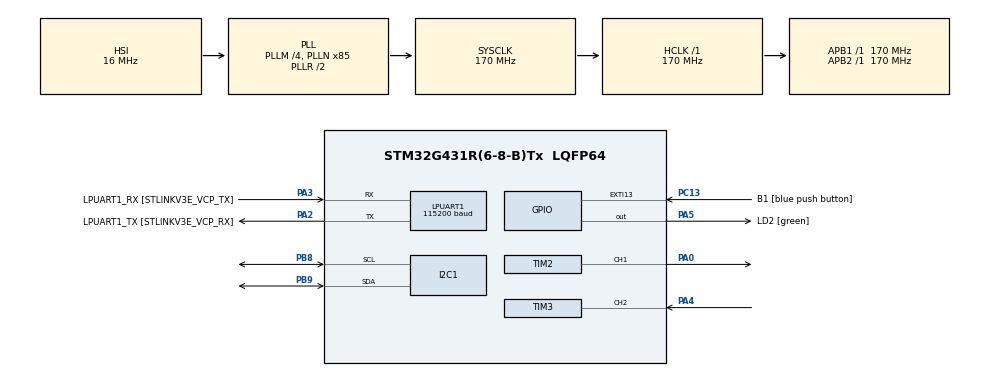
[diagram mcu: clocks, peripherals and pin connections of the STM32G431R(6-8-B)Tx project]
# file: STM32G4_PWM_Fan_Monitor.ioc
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I2C1.Timing=0x30A0A7FB
LPUART1.BaudRate=115200
LPUART1.WordLength=UART_WORDLENGTH_8B
Mcu.Family=STM32G4
Mcu.Name=STM32G431R(6-8-B)Tx
Mcu.Package=LQFP64
NVIC.EXTI15_10_IRQn=true\:0\:0\:false\:false\:true\:true\:true\:true
NVIC.PriorityGroup=NVIC_PRIORITYGROUP_4
NVIC.TIM2_IRQn=true\:0\:0\:false\:false\:true\:true\:true\:true
NVIC.TIM3_IRQn=true\:0\:0\:false\:false\:true\:true\:true\:true
PA0.Signal=S_TIM2_CH1
PA13.GPIO_Label=T_SWDIO
PA13.Mode=Serial_Wire
PA13.Signal=SYS_JTMS-SWDIO
PA14.GPIO_Label=T_SWCLK
PA14.Mode=Serial_Wire
PA14.Signal=SYS_JTCK-SWCLK
PA2.GPIO_Label=LPUART1_TX [STLINKV3E_VCP_RX]
PA2.Mode=Asynchronous
PA2.Signal=LPUART1_TX
PA3.GPIO_Label=LPUART1_RX [STLINKV3E_VCP_TX]
PA3.Mode=Asynchronous
PA3.Signal=LPUART1_RX
PA4.Signal=S_TIM3_CH2
PA5.GPIO_Label=LD2 [green]
PA5.Signal=GPIO_Output
PA6.Signal=S_TIM3_CH1
PB3.GPIO_Label=T_SWO
PB3.Signal=SYS_JTDO-SWO
PB8-BOOT0.Mode=I2C
PB8-BOOT0.Signal=I2C1_SCL
PB9.Mode=I2C
PB9.Signal=I2C1_SDA
PC13.GPIO_Label=B1 [blue push button]
PC13.Signal=GPXTI13
PC14-OSC32_IN.Mode=LSE-External-Oscillator
PC14-OSC32_IN.Signal=RCC_OSC32_IN
PC15-OSC32_OUT.Mode=LSE-External-Oscillator
PC15-OSC32_OUT.Signal=RCC_OSC32_OUT
PF0-OSC_IN.Mode=HSE-External-Oscillator
PF0-OSC_IN.Signal=RCC_OSC_IN
PF1-OSC_OUT.Mode=HSE-External-Oscillator
PF1-OSC_OUT.Signal=RCC_OSC_OUT
ProjectManager.HeapSize=0x200
ProjectManager.StackSize=0x400
ProjectManager.TargetToolchain=STM32CubeIDE
RCC.ADC12Freq_Value=170000000
RCC.AHBFreq_Value=170000000
RCC.APB1Freq_Value=170000000
RCC.APB1TimFreq_Value=170000000
RCC.APB2Freq_Value=170000000
RCC.APB2TimFreq_Value=170000000
RCC.CortexFreq_Value=170000000
RCC.EXTERNAL_CLOCK_VALUE=12288000
RCC.HCLKFreq_Value=170000000
RCC.HSE_VALUE=24000000
RCC.HSI48_VALUE=48000000
RCC.HSI_VALUE=16000000
RCC.PLLM=RCC_PLLM_DIV4
RCC.PLLN=85
RCC.RTCClockSelection=RCC_RTCCLKSOURCE_LSE
RCC.SYSCLKFreq_VALUE=170000000
RCC.SYSCLKSource=RCC_SYSCLKSOURCE_PLLCLK
RCC.USBFreq_Value=170000000
RCC.VCOOutputFreq_Value=340000000
SH.S_TIM2_CH1.0=TIM2_CH1,PWM Generation1 CH1
SH.S_TIM3_CH1.0=TIM3_CH1
SH.S_TIM3_CH2.0=TIM3_CH2,Input_Capture2_from_TI2
TIM2.Channel-PWM\ Generation1\ CH1=TIM_CHANNEL_1
TIM2.PeriodNoDither=959
TIM2.Prescaler=2
TIM3.Channel-Input_Capture2_from_TI2=TIM_CHANNEL_2
TIM3.ICPolarity_CH2=TIM_INPUTCHANNELPOLARITY_FALLING
TIM3.Prescaler=169
VP_SYS_VS_DBSignals.Mode=DisableDeadBatterySignals
VP_TIM2_VS_ClockSourceINT.Mode=Internal
VP_TIM3_VS_ClockSourceINT.Mode=Internal
board=NUCLEO-G431RB

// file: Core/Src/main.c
/* USER CODE BEGIN Header */
/**
  ******************************************************************************
  * @file           : main.c
  * @brief          : Main program body
  ******************************************************************************
  * @attention
  *
  * Copyright (c) 2026 STMicroelectronics.
  * All rights reserved.
  *
  * This software is licensed under terms that can be found in the LICENSE file
  * in the root directory of this software component.
  * If no LICENSE file comes with this software, it is provided AS-IS.
  *
  ******************************************************************************
  */
/* USER CODE END Header */
#include "main.h"

/* USER CODE BEGIN Includes */
#include "SH1107.h"
#include <stdio.h> // sprintf kullanabilmek için
/* USER CODE END Includes */

I2C_HandleTypeDef hi2c1;

UART_HandleTypeDef hlpuart1;

TIM_HandleTypeDef htim2;
TIM_HandleTypeDef htim3;

/* USER CODE BEGIN PV */
uint32_t ilk_yakalama = 0;
uint32_t ikinci_yakalama = 0;
uint32_t fark = 0;
uint8_t ilk_kenar = 0;

volatile uint32_t fan_freq = 0; // Sinyalin anlık frekansı (Hz)
volatile uint32_t fan_rpm = 0;  // Fanın anlık devir sayısı (RPM)
uint8_t guncel_duty = 50;       // Başlangıç PWM yüzdemiz (%50)
/* USER CODE END PV */

void SystemClock_Config(void);
static void MX_GPIO_Init(void);
static void MX_LPUART1_UART_Init(void);
static void MX_TIM2_Init(void);
static void MX_TIM3_Init(void);
static void MX_I2C1_Init(void);

int main(void)
{

  /* MCU Configuration--------------------------------------------------------*/

  /* Reset of all peripherals, Initializes the Flash interface and the Systick. */
  HAL_Init();

  /* Configure the system clock */
  SystemClock_Config();

  /* Initialize all configured peripherals */
  MX_GPIO_Init();
  MX_LPUART1_UART_Init();
  MX_TIM2_Init();
  MX_TIM3_Init();
  MX_I2C1_Init();
  /* USER CODE BEGIN 2 */

  // 1. OLED Ekranı Başlat ve Temizle
  SH1107_Init();
  SH1107_ClearBuffer();
  SH1107_Update();

  // 2. Zamanlayıcıları (Timer) Başlat
  HAL_TIM_PWM_Start(&htim2, TIM_CHANNEL_1);   // PWM output (PA0 / TIM2_CH1)
  HAL_TIM_IC_Start_IT(&htim3, TIM_CHANNEL_2); // Tachometer input capture (PA4 / TIM3_CH2)

  // 3. Başlangıç Hızını Set Et (%50 duty için ARR=959 üzerinden yaklaşık 480)
  __HAL_TIM_SET_COMPARE(&htim2, TIM_CHANNEL_1, 480);
  /* USER CODE END 2 */

  /* Infinite loop */
  /* USER CODE BEGIN WHILE */

  while (1)
    {
        // 1. Sanal ekran belleğini (buffer) temizle
        SH1107_ClearBuffer();

        // 2. Buton kesmesiyle değişen guncel_duty, fan_freq ve fan_rpm değerlerini çiz
        SH1107_Draw_Fan_Telemetry(fan_freq, fan_rpm, guncel_duty);

        // 3. Buffer içeriğini I2C üzerinden ekrana gönder
        SH1107_Update();

        // İşlemciyi yormamak ve ekranı stabil tutmak için 200ms gecikme
        HAL_Delay(200);

    /* USER CODE END WHILE */

  }
}

void SystemClock_Config(void)
{
  RCC_OscInitTypeDef RCC_OscInitStruct = {0};
  RCC_ClkInitTypeDef RCC_ClkInitStruct = {0};

  /** Configure the main internal regulator output voltage
  */
  HAL_PWREx_ControlVoltageScaling(PWR_REGULATOR_VOLTAGE_SCALE1_BOOST);

  /** Initializes the RCC Oscillators according to the specified parameters
  * in the RCC_OscInitTypeDef structure.
  */
  RCC_OscInitStruct.OscillatorType = RCC_OSCILLATORTYPE_HSI;
  RCC_OscInitStruct.HSIState = RCC_HSI_ON;
  RCC_OscInitStruct.HSICalibrationValue = RCC_HSICALIBRATION_DEFAULT;
  RCC_OscInitStruct.PLL.PLLState = RCC_PLL_ON;
  RCC_OscInitStruct.PLL.PLLSource = RCC_PLLSOURCE_HSI;
  RCC_OscInitStruct.PLL.PLLM = RCC_PLLM_DIV4;
  RCC_OscInitStruct.PLL.PLLN = 85;
  RCC_OscInitStruct.PLL.PLLP = RCC_PLLP_DIV2;
  RCC_OscInitStruct.PLL.PLLQ = RCC_PLLQ_DIV2;
  RCC_OscInitStruct.PLL.PLLR = RCC_PLLR_DIV2;
  if (HAL_RCC_OscConfig(&RCC_OscInitStruct) != HAL_OK)
  {
    Error_Handler();
  }

  /** Initializes the CPU, AHB and APB buses clocks
  */
  RCC_ClkInitStruct.ClockType = RCC_CLOCKTYPE_HCLK|RCC_CLOCKTYPE_SYSCLK
                              |RCC_CLOCKTYPE_PCLK1|RCC_CLOCKTYPE_PCLK2;
  RCC_ClkInitStruct.SYSCLKSource = RCC_SYSCLKSOURCE_PLLCLK;
  RCC_ClkInitStruct.AHBCLKDivider = RCC_SYSCLK_DIV1;
  RCC_ClkInitStruct.APB1CLKDivider = RCC_HCLK_DIV1;
  RCC_ClkInitStruct.APB2CLKDivider = RCC_HCLK_DIV1;

  if (HAL_RCC_ClockConfig(&RCC_ClkInitStruct, FLASH_LATENCY_4) != HAL_OK)
  {
    Error_Handler();
  }
}

static void MX_I2C1_Init(void)
{

  hi2c1.Instance = I2C1;
  hi2c1.Init.Timing = 0x30A0A7FB;
  hi2c1.Init.OwnAddress1 = 0;
  hi2c1.Init.AddressingMode = I2C_ADDRESSINGMODE_7BIT;
  hi2c1.Init.DualAddressMode = I2C_DUALADDRESS_DISABLE;
  hi2c1.Init.OwnAddress2 = 0;
  hi2c1.Init.OwnAddress2Masks = I2C_OA2_NOMASK;
  hi2c1.Init.GeneralCallMode = I2C_GENERALCALL_DISABLE;
  hi2c1.Init.NoStretchMode = I2C_NOSTRETCH_DISABLE;
  if (HAL_I2C_Init(&hi2c1) != HAL_OK)
  {
    Error_Handler();
  }

  /** Configure Analogue filter
  */
  if (HAL_I2CEx_ConfigAnalogFilter(&hi2c1, I2C_ANALOGFILTER_ENABLE) != HAL_OK)
  {
    Error_Handler();
  }

  /** Configure Digital filter
  */
  if (HAL_I2CEx_ConfigDigitalFilter(&hi2c1, 0) != HAL_OK)
  {
    Error_Handler();
  }

}

static void MX_LPUART1_UART_Init(void)
{

  hlpuart1.Instance = LPUART1;
  hlpuart1.Init.BaudRate = 115200;
  hlpuart1.Init.WordLength = UART_WORDLENGTH_8B;
  hlpuart1.Init.StopBits = UART_STOPBITS_1;
  hlpuart1.Init.Parity = UART_PARITY_NONE;
  hlpuart1.Init.Mode = UART_MODE_TX_RX;
  hlpuart1.Init.HwFlowCtl = UART_HWCONTROL_NONE;
  hlpuart1.Init.OneBitSampling = UART_ONE_BIT_SAMPLE_DISABLE;
  hlpuart1.Init.ClockPrescaler = UART_PRESCALER_DIV1;
  hlpuart1.AdvancedInit.AdvFeatureInit = UART_ADVFEATURE_NO_INIT;
  if (HAL_UART_Init(&hlpuart1) != HAL_OK)
  {
    Error_Handler();
  }
  if (HAL_UARTEx_SetTxFifoThreshold(&hlpuart1, UART_TXFIFO_THRESHOLD_1_8) != HAL_OK)
  {
    Error_Handler();
  }
  if (HAL_UARTEx_SetRxFifoThreshold(&hlpuart1, UART_RXFIFO_THRESHOLD_1_8) != HAL_OK)
  {
    Error_Handler();
  }
  if (HAL_UARTEx_DisableFifoMode(&hlpuart1) != HAL_OK)
  {
    Error_Handler();
  }

}

static void MX_TIM2_Init(void)
{

  TIM_ClockConfigTypeDef sClockSourceConfig = {0};
  TIM_MasterConfigTypeDef sMasterConfig = {0};
  TIM_OC_InitTypeDef sConfigOC = {0};

  htim2.Instance = TIM2;
  htim2.Init.Prescaler = 2;
  htim2.Init.CounterMode = TIM_COUNTERMODE_UP;
  htim2.Init.Period = 959;
  htim2.Init.ClockDivision = TIM_CLOCKDIVISION_DIV1;
  htim2.Init.AutoReloadPreload = TIM_AUTORELOAD_PRELOAD_DISABLE;
  if (HAL_TIM_Base_Init(&htim2) != HAL_OK)
  {
    Error_Handler();
  }
  sClockSourceConfig.ClockSource = TIM_CLOCKSOURCE_INTERNAL;
  if (HAL_TIM_ConfigClockSource(&htim2, &sClockSourceConfig) != HAL_OK)
  {
    Error_Handler();
  }
  if (HAL_TIM_PWM_Init(&htim2) != HAL_OK)
  {
    Error_Handler();
  }
  sMasterConfig.MasterOutputTrigger = TIM_TRGO_RESET;
  sMasterConfig.MasterSlaveMode = TIM_MASTERSLAVEMODE_DISABLE;
  if (HAL_TIMEx_MasterConfigSynchronization(&htim2, &sMasterConfig) != HAL_OK)
  {
    Error_Handler();
  }
  sConfigOC.OCMode = TIM_OCMODE_PWM1;
  sConfigOC.Pulse = 0;
  sConfigOC.OCPolarity = TIM_OCPOLARITY_HIGH;
  sConfigOC.OCFastMode = TIM_OCFAST_DISABLE;
  if (HAL_TIM_PWM_ConfigChannel(&htim2, &sConfigOC, TIM_CHANNEL_1) != HAL_OK)
  {
    Error_Handler();
  }
  HAL_TIM_MspPostInit(&htim2);

}

static void MX_TIM3_Init(void)
{

  TIM_ClockConfigTypeDef sClockSourceConfig = {0};
  TIM_MasterConfigTypeDef sMasterConfig = {0};
  TIM_IC_InitTypeDef sConfigIC = {0};

  htim3.Instance = TIM3;
  htim3.Init.Prescaler = 169;
  htim3.Init.CounterMode = TIM_COUNTERMODE_UP;
  htim3.Init.Period = 65535;
  htim3.Init.ClockDivision = TIM_CLOCKDIVISION_DIV1;
  htim3.Init.AutoReloadPreload = TIM_AUTORELOAD_PRELOAD_DISABLE;
  if (HAL_TIM_Base_Init(&htim3) != HAL_OK)
  {
    Error_Handler();
  }
  sClockSourceConfig.ClockSource = TIM_CLOCKSOURCE_INTERNAL;
  if (HAL_TIM_ConfigClockSource(&htim3, &sClockSourceConfig) != HAL_OK)
  {
    Error_Handler();
  }
  if (HAL_TIM_IC_Init(&htim3) != HAL_OK)
  {
    Error_Handler();
  }
  sMasterConfig.MasterOutputTrigger = TIM_TRGO_RESET;
  sMasterConfig.MasterSlaveMode = TIM_MASTERSLAVEMODE_DISABLE;
  if (HAL_TIMEx_MasterConfigSynchronization(&htim3, &sMasterConfig) != HAL_OK)
  {
    Error_Handler();
  }
  sConfigIC.ICPolarity = TIM_INPUTCHANNELPOLARITY_FALLING;
  sConfigIC.ICSelection = TIM_ICSELECTION_DIRECTTI;
  sConfigIC.ICPrescaler = TIM_ICPSC_DIV1;
  sConfigIC.ICFilter = 0;
  if (HAL_TIM_IC_ConfigChannel(&htim3, &sConfigIC, TIM_CHANNEL_2) != HAL_OK)
  {
    Error_Handler();
  }

}

static void MX_GPIO_Init(void)
{
  GPIO_InitTypeDef GPIO_InitStruct = {0};

  /* GPIO Ports Clock Enable */
  __HAL_RCC_GPIOC_CLK_ENABLE();
  __HAL_RCC_GPIOF_CLK_ENABLE();
  __HAL_RCC_GPIOA_CLK_ENABLE();
  __HAL_RCC_GPIOB_CLK_ENABLE();

  /*Configure GPIO pin Output Level */
  HAL_GPIO_WritePin(LD2_GPIO_Port, LD2_Pin, GPIO_PIN_RESET);

  /*Configure GPIO pin : B1_Pin */
  GPIO_InitStruct.Pin = B1_Pin;
  GPIO_InitStruct.Mode = GPIO_MODE_IT_RISING;
  GPIO_InitStruct.Pull = GPIO_NOPULL;
  HAL_GPIO_Init(B1_GPIO_Port, &GPIO_InitStruct);

  /*Configure GPIO pin : LD2_Pin */
  GPIO_InitStruct.Pin = LD2_Pin;
  GPIO_InitStruct.Mode = GPIO_MODE_OUTPUT_PP;
  GPIO_InitStruct.Pull = GPIO_NOPULL;
  GPIO_InitStruct.Speed = GPIO_SPEED_FREQ_LOW;
  HAL_GPIO_Init(LD2_GPIO_Port, &GPIO_InitStruct);

  /* EXTI interrupt init*/
  HAL_NVIC_SetPriority(EXTI15_10_IRQn, 0, 0);
  HAL_NVIC_EnableIRQ(EXTI15_10_IRQn);

}

/* USER CODE BEGIN 4 */
void HAL_TIM_IC_CaptureCallback(TIM_HandleTypeDef *htim)
{
    if (htim->Instance == TIM3) // TIM3 Kesmesi
    {
        if (htim->Channel == HAL_TIM_ACTIVE_CHANNEL_2) // TIM3 Channel 2 (PA4)
        {
            if (ilk_kenar == 0)
            {
                ilk_yakalama = HAL_TIM_ReadCapturedValue(htim, TIM_CHANNEL_2);
                ilk_kenar = 1;
            }
            else
            {
                ikinci_yakalama = HAL_TIM_ReadCapturedValue(htim, TIM_CHANNEL_2);

                if (ikinci_yakalama > ilk_yakalama)
                {
                    fark = ikinci_yakalama - ilk_yakalama;
                }
                else
                {
                    fark = (65535 - ilk_yakalama) + ikinci_yakalama; // Taşma koruması
                }

                if (fark > 0)
                {
                    // Giriş Yakalama frekansımız 1 MHz (PSC=169 ayarı ile)
                    // İki düşen kenar arası mikrosaniye cinsinden süre = fark

                    // 1. Tacho Sinyal Frekansı Hesabı (Hz)
                    fan_freq = 1000000 / fark;

                    // 2. RPM calculation (assumes 2 tach pulses per revolution)
                    fan_rpm = (fan_freq * 60) / 2;
                }

                ilk_kenar = 0; // Süreci sıfırla
            }
        }
    }
}

// Bu fonksiyon, mavi kullanıcı butonuna (B1) her bastığında otomatik tetiklenir

void HAL_GPIO_EXTI_Callback(uint16_t GPIO_Pin)
{
    if(GPIO_Pin == B1_Pin) // Tetiklenen pin mavi buton ise
    {
        // Gecikme kullanmadan doğrudan durum makinesini turlatıyoruz
        if(guncel_duty == 25) {
            guncel_duty = 50;
            __HAL_TIM_SET_COMPARE(&htim2, TIM_CHANNEL_1, 480);
        }
        else if(guncel_duty == 50) {
            guncel_duty = 75;
            __HAL_TIM_SET_COMPARE(&htim2, TIM_CHANNEL_1, 720);
        }
        else if(guncel_duty == 75) {
            guncel_duty = 100;
            __HAL_TIM_SET_COMPARE(&htim2, TIM_CHANNEL_1, 959);
        }
        else {
            guncel_duty = 25;
            __HAL_TIM_SET_COMPARE(&htim2, TIM_CHANNEL_1, 240);
        }
    }
}

/* USER CODE END 4 */

void Error_Handler(void)
{
  __disable_irq();
  while (1)
  {
  }
}
